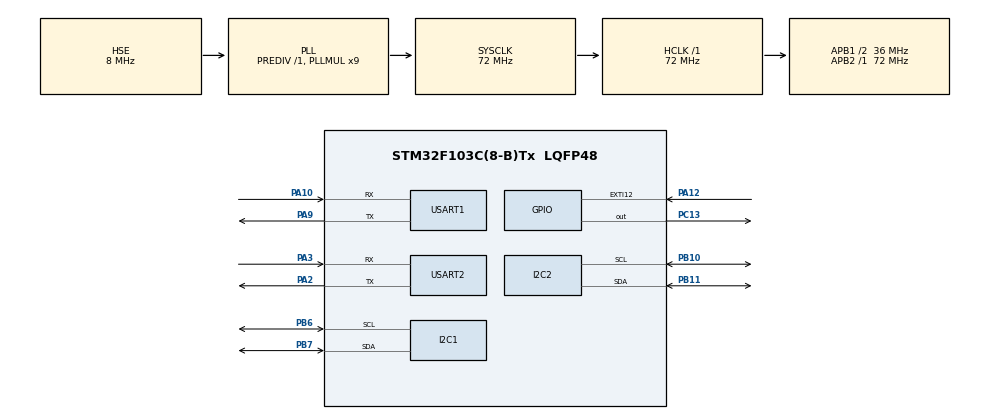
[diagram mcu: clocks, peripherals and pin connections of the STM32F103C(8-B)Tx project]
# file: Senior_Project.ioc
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Dma.Request0=USART1_RX
Dma.Request1=USART1_TX
Dma.Request2=USART2_RX
Dma.Request3=USART2_TX
Dma.USART1_RX.0.Direction=DMA_PERIPH_TO_MEMORY
Dma.USART1_RX.0.Instance=DMA1_Channel5
Dma.USART1_RX.0.MemDataAlignment=DMA_MDATAALIGN_BYTE
Dma.USART1_RX.0.MemInc=DMA_MINC_ENABLE
Dma.USART1_RX.0.Mode=DMA_NORMAL
Dma.USART1_RX.0.PeriphDataAlignment=DMA_PDATAALIGN_BYTE
Dma.USART1_RX.0.PeriphInc=DMA_PINC_DISABLE
Dma.USART1_RX.0.Priority=DMA_PRIORITY_LOW
Dma.USART1_TX.1.Direction=DMA_MEMORY_TO_PERIPH
Dma.USART1_TX.1.Instance=DMA1_Channel4
Dma.USART1_TX.1.MemDataAlignment=DMA_MDATAALIGN_BYTE
Dma.USART1_TX.1.MemInc=DMA_MINC_ENABLE
Dma.USART1_TX.1.Mode=DMA_NORMAL
Dma.USART1_TX.1.PeriphDataAlignment=DMA_PDATAALIGN_BYTE
Dma.USART1_TX.1.PeriphInc=DMA_PINC_DISABLE
Dma.USART1_TX.1.Priority=DMA_PRIORITY_LOW
Dma.USART2_RX.2.Direction=DMA_PERIPH_TO_MEMORY
Dma.USART2_RX.2.Instance=DMA1_Channel6
Dma.USART2_RX.2.MemDataAlignment=DMA_MDATAALIGN_BYTE
Dma.USART2_RX.2.MemInc=DMA_MINC_ENABLE
Dma.USART2_RX.2.Mode=DMA_NORMAL
Dma.USART2_RX.2.PeriphDataAlignment=DMA_PDATAALIGN_BYTE
Dma.USART2_RX.2.PeriphInc=DMA_PINC_DISABLE
Dma.USART2_RX.2.Priority=DMA_PRIORITY_LOW
Dma.USART2_TX.3.Direction=DMA_MEMORY_TO_PERIPH
Dma.USART2_TX.3.Instance=DMA1_Channel7
Dma.USART2_TX.3.MemDataAlignment=DMA_MDATAALIGN_BYTE
Dma.USART2_TX.3.MemInc=DMA_MINC_ENABLE
Dma.USART2_TX.3.Mode=DMA_NORMAL
Dma.USART2_TX.3.PeriphDataAlignment=DMA_PDATAALIGN_BYTE
Dma.USART2_TX.3.PeriphInc=DMA_PINC_DISABLE
Dma.USART2_TX.3.Priority=DMA_PRIORITY_LOW
Mcu.Family=STM32F1
Mcu.Name=STM32F103C(8-B)Tx
Mcu.Package=LQFP48
NVIC.DMA1_Channel4_IRQn=true\:0\:0\:false\:false\:true\:false\:true\:true
NVIC.DMA1_Channel5_IRQn=true\:0\:0\:false\:false\:true\:false\:true\:true
NVIC.DMA1_Channel6_IRQn=true\:0\:0\:false\:false\:true\:false\:true\:true
NVIC.DMA1_Channel7_IRQn=true\:0\:0\:false\:false\:true\:false\:true\:true
NVIC.PriorityGroup=NVIC_PRIORITYGROUP_4
NVIC.USART1_IRQn=true\:0\:0\:false\:false\:true\:true\:true\:true
NVIC.USART2_IRQn=true\:0\:0\:false\:false\:true\:true\:true\:true
PA10.Mode=Asynchronous
PA10.Signal=USART1_RX
PA12.GPIO_ModeDefaultEXTI=GPIO_MODE_IT_FALLING
PA12.GPIO_PuPd=GPIO_PULLUP
PA12.Signal=GPXTI12
PA2.Mode=Asynchronous
PA2.Signal=USART2_TX
PA3.Mode=Asynchronous
PA3.Signal=USART2_RX
PA9.Mode=Asynchronous
PA9.Signal=USART1_TX
PB10.Mode=I2C
PB10.Signal=I2C2_SCL
PB11.Mode=I2C
PB11.Signal=I2C2_SDA
PB6.Mode=I2C
PB6.Signal=I2C1_SCL
PB7.Mode=I2C
PB7.Signal=I2C1_SDA
PC13-TAMPER-RTC.Signal=GPIO_Output
PC14-OSC32_IN.Mode=LSE-External-Oscillator
PC14-OSC32_IN.Signal=RCC_OSC32_IN
PC15-OSC32_OUT.Mode=LSE-External-Oscillator
PC15-OSC32_OUT.Signal=RCC_OSC32_OUT
PD0-OSC_IN.Mode=HSE-External-Oscillator
PD0-OSC_IN.Signal=RCC_OSC_IN
PD1-OSC_OUT.Mode=HSE-External-Oscillator
PD1-OSC_OUT.Signal=RCC_OSC_OUT
ProjectManager.HeapSize=0x200
ProjectManager.StackSize=0x400
ProjectManager.TargetToolchain=STM32CubeIDE
RCC.AHBFreq_Value=72000000
RCC.APB1CLKDivider=RCC_HCLK_DIV2
RCC.APB1Freq_Value=36000000
RCC.APB1TimFreq_Value=72000000
RCC.APB2Freq_Value=72000000
RCC.APB2TimFreq_Value=72000000
RCC.HCLKFreq_Value=72000000
RCC.PLLMUL=RCC_PLL_MUL9
RCC.PLLSourceVirtual=RCC_PLLSOURCE_HSE
RCC.SYSCLKFreq_VALUE=72000000
RCC.SYSCLKSource=RCC_SYSCLKSOURCE_PLLCLK
RCC.USBFreq_Value=72000000
USART1.VirtualMode=VM_ASYNC
USART2.VirtualMode=VM_ASYNC
board=custom

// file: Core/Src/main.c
/* USER CODE BEGIN Header */
/**
  ******************************************************************************
  * @file           : main.c
  * @brief          : Main program body
  ******************************************************************************
  * @attention
  *
  * Copyright (c) 2023 STMicroelectronics.
  * All rights reserved.
  *
  * This software is licensed under terms that can be found in the LICENSE file
  * in the root directory of this software component.
  * If no LICENSE file comes with this software, it is provided AS-IS.
  *
  ******************************************************************************
  */
/* USER CODE END Header */
#include "main.h"

/* USER CODE BEGIN Includes */
#include <stdio.h>
#include "max30102_for_stm32_hal.h"
#include "dev_trace.h"
#include "hrspo2_converter.h"
#include "com_preasure.h"

/* USER CODE END Includes */

/* USER CODE BEGIN PD */
#define UART_MESSAGE_START 		0
#define UART_MESSAGE_ID    		1
#define UART_MESSAGE_TEMP  		2
#define UART_MESSAGE_PRESS 		3
#define UART_MESSAGE_RATE  		4
#define UART_MESSAGE_SAT   		5
#define UART_MESSAGE_END   		6

#define START_MESSAGE      0xAA
#define END_MESSAGE        0x55

#define TEMP_I2C_ADDRESS        0x90
#define TEMP_READ_ADDRESS  		0
#define TEMP_CONF_ADDRESS  		1
#define TEMP_HYST_ADDRESS  		2
#define TEMP_OS_ADDRESS    		3
#define TEMP_TIMEOUT       		10

/* USER CODE END PD */

I2C_HandleTypeDef hi2c1;
I2C_HandleTypeDef hi2c2;

UART_HandleTypeDef huart1;
UART_HandleTypeDef huart2;
DMA_HandleTypeDef hdma_usart1_rx;
DMA_HandleTypeDef hdma_usart1_tx;
DMA_HandleTypeDef hdma_usart2_rx;
DMA_HandleTypeDef hdma_usart2_tx;

/* USER CODE BEGIN PV */
uint8_t tx_buffer[128];
uint8_t samples_buf[16];
//uint8_t data[128];
uint32_t temporary_int;

/* USER CODE END PV */

void SystemClock_Config(void);
static void MX_GPIO_Init(void);
static void MX_DMA_Init(void);
static void MX_USART1_UART_Init(void);
static void MX_I2C1_Init(void);
static void MX_I2C2_Init(void);
static void MX_USART2_UART_Init(void);
/* USER CODE BEGIN PFP */
float get_temp(void);
/* USER CODE END PFP */

int main(void)
{

  /* MCU Configuration--------------------------------------------------------*/

  /* Reset of all peripherals, Initializes the Flash interface and the Systick. */
  HAL_Init();

  /* Configure the system clock */
  SystemClock_Config();

  /* Initialize all configured peripherals */
  MX_GPIO_Init();
  MX_DMA_Init();
  MX_USART1_UART_Init();
  MX_I2C1_Init();
  MX_I2C2_Init();
  MX_USART2_UART_Init();
  /* USER CODE BEGIN 2 */

  dev_trace_init_t trace_init;
  trace_init.mosi.port = GPIO_PA;
  trace_init.sck. port = GPIO_PA;
  trace_init.nss.port = GPIO_PA;
  trace_init.mosi.pin =BB(0, b00010000);
  trace_init.sck.pin = BB(0, b00100000);
  trace_init.nss.pin = BB(0, b01000000);
  dev_trace_init(&trace_init);

  debug_printf("\r\n\n\n\n******HUMAN HEALTH MONITORING SENSOR******\r\n");

  uint32_t serial_id = 1717;
//  uint32_t temperature = 3755;
  uint32_t heart_rate;
  float saturation = 0;
  uint8_t finger_on = 1;
  int SYS = 0;
  int DIA = 0;
  int PUL = 0;
  uint32_t last_time = HAL_GetTick();

  init_bpm(&huart2, GPIOA, GPIO_PIN_1);

  Max30102Setup();
  uint8_t faile_counter = 0;

  bpm_thread(&DIA,&SYS,&PUL);
  debug_printf("\r\n\n\n\n PUL: %d  SYS: %d  DIA: %d\r\n\n\n\n", PUL, SYS, DIA);
  /* USER CODE END 2 */

  /* Infinite loop */
  while (1)
  {

    /* USER CODE BEGIN 3 */

//	  Max30102Loop();
	  if(HAL_GPIO_ReadPin(GPIOB, GPIO_PIN_12) == GPIO_PIN_RESET){
		  Max30102Loop(&saturation, &heart_rate, &finger_on);
		  if(finger_on == 0)faile_counter++;
		  if(faile_counter > 20){
			  HAL_I2C_DeInit(&hi2c1);
			  HAL_Delay(10);
			  HAL_I2C_Init(&hi2c1);
			  faile_counter = 0;
			  debug_printf("me movel\r\n");
		  }
	  }

	  if (HAL_GetTick() - last_time > 1000){
		  HAL_GPIO_TogglePin (GPIOC, GPIO_PIN_13);
		  get_temp();
		  if (finger_on == 1){
			  debug_printf("........................................new SPO2: %f , Heart Rate: %d\r\n",saturation, heart_rate);
		  }else{
			  debug_printf("........................................Not valid. Are you still alive?\r\n");
		  }
		  tx_buffer[0] = START_MESSAGE;
		  memcpy(&tx_buffer[1], &serial_id, 4);
		  // tx_buffer[5], temp;
		  memcpy(&tx_buffer[9], &heart_rate, 4);
		  saturation *= 1000;
		  temporary_int = (int)saturation;
		  memcpy(&tx_buffer[13], &temporary_int, 4);
		  tx_buffer[17] = finger_on;
		  tx_buffer[18] = END_MESSAGE;
		  HAL_UART_Transmit_DMA(&huart1, tx_buffer, 32);
		  last_time = HAL_GetTick();
	  }

  }
  /* USER CODE END 3 */
}

void SystemClock_Config(void)
{
  RCC_OscInitTypeDef RCC_OscInitStruct = {0};
  RCC_ClkInitTypeDef RCC_ClkInitStruct = {0};

  /** Initializes the RCC Oscillators according to the specified parameters
  * in the RCC_OscInitTypeDef structure.
  */
  RCC_OscInitStruct.OscillatorType = RCC_OSCILLATORTYPE_HSE;
  RCC_OscInitStruct.HSEState = RCC_HSE_ON;
  RCC_OscInitStruct.HSEPredivValue = RCC_HSE_PREDIV_DIV1;
  RCC_OscInitStruct.HSIState = RCC_HSI_ON;
  RCC_OscInitStruct.PLL.PLLState = RCC_PLL_ON;
  RCC_OscInitStruct.PLL.PLLSource = RCC_PLLSOURCE_HSE;
  RCC_OscInitStruct.PLL.PLLMUL = RCC_PLL_MUL9;
  if (HAL_RCC_OscConfig(&RCC_OscInitStruct) != HAL_OK)
  {
    Error_Handler();
  }

  /** Initializes the CPU, AHB and APB buses clocks
  */
  RCC_ClkInitStruct.ClockType = RCC_CLOCKTYPE_HCLK|RCC_CLOCKTYPE_SYSCLK
                              |RCC_CLOCKTYPE_PCLK1|RCC_CLOCKTYPE_PCLK2;
  RCC_ClkInitStruct.SYSCLKSource = RCC_SYSCLKSOURCE_PLLCLK;
  RCC_ClkInitStruct.AHBCLKDivider = RCC_SYSCLK_DIV1;
  RCC_ClkInitStruct.APB1CLKDivider = RCC_HCLK_DIV2;
  RCC_ClkInitStruct.APB2CLKDivider = RCC_HCLK_DIV1;

  if (HAL_RCC_ClockConfig(&RCC_ClkInitStruct, FLASH_LATENCY_2) != HAL_OK)
  {
    Error_Handler();
  }
}

static void MX_I2C1_Init(void)
{

  hi2c1.Instance = I2C1;
  hi2c1.Init.ClockSpeed = 100000;
  hi2c1.Init.DutyCycle = I2C_DUTYCYCLE_2;
  hi2c1.Init.OwnAddress1 = 0;
  hi2c1.Init.AddressingMode = I2C_ADDRESSINGMODE_7BIT;
  hi2c1.Init.DualAddressMode = I2C_DUALADDRESS_DISABLE;
  hi2c1.Init.OwnAddress2 = 0;
  hi2c1.Init.GeneralCallMode = I2C_GENERALCALL_DISABLE;
  hi2c1.Init.NoStretchMode = I2C_NOSTRETCH_DISABLE;
  if (HAL_I2C_Init(&hi2c1) != HAL_OK)
  {
    Error_Handler();
  }

}

static void MX_I2C2_Init(void)
{

  hi2c2.Instance = I2C2;
  hi2c2.Init.ClockSpeed = 100000;
  hi2c2.Init.DutyCycle = I2C_DUTYCYCLE_2;
  hi2c2.Init.OwnAddress1 = 0;
  hi2c2.Init.AddressingMode = I2C_ADDRESSINGMODE_7BIT;
  hi2c2.Init.DualAddressMode = I2C_DUALADDRESS_DISABLE;
  hi2c2.Init.OwnAddress2 = 0;
  hi2c2.Init.GeneralCallMode = I2C_GENERALCALL_DISABLE;
  hi2c2.Init.NoStretchMode = I2C_NOSTRETCH_DISABLE;
  if (HAL_I2C_Init(&hi2c2) != HAL_OK)
  {
    Error_Handler();
  }

}

static void MX_USART1_UART_Init(void)
{

  huart1.Instance = USART1;
  huart1.Init.BaudRate = 115200;
  huart1.Init.WordLength = UART_WORDLENGTH_8B;
  huart1.Init.StopBits = UART_STOPBITS_1;
  huart1.Init.Parity = UART_PARITY_NONE;
  huart1.Init.Mode = UART_MODE_TX_RX;
  huart1.Init.HwFlowCtl = UART_HWCONTROL_NONE;
  huart1.Init.OverSampling = UART_OVERSAMPLING_16;
  if (HAL_UART_Init(&huart1) != HAL_OK)
  {
    Error_Handler();
  }

}

static void MX_USART2_UART_Init(void)
{

  huart2.Instance = USART2;
  huart2.Init.BaudRate = 115200;
  huart2.Init.WordLength = UART_WORDLENGTH_8B;
  huart2.Init.StopBits = UART_STOPBITS_1;
  huart2.Init.Parity = UART_PARITY_NONE;
  huart2.Init.Mode = UART_MODE_TX_RX;
  huart2.Init.HwFlowCtl = UART_HWCONTROL_NONE;
  huart2.Init.OverSampling = UART_OVERSAMPLING_16;
  if (HAL_UART_Init(&huart2) != HAL_OK)
  {
    Error_Handler();
  }

}

static void MX_DMA_Init(void)
{

  /* DMA controller clock enable */
  __HAL_RCC_DMA1_CLK_ENABLE();

  /* DMA interrupt init */
  /* DMA1_Channel4_IRQn interrupt configuration */
  HAL_NVIC_SetPriority(DMA1_Channel4_IRQn, 0, 0);
  HAL_NVIC_EnableIRQ(DMA1_Channel4_IRQn);
  /* DMA1_Channel5_IRQn interrupt configuration */
  HAL_NVIC_SetPriority(DMA1_Channel5_IRQn, 0, 0);
  HAL_NVIC_EnableIRQ(DMA1_Channel5_IRQn);
  /* DMA1_Channel6_IRQn interrupt configuration */
  HAL_NVIC_SetPriority(DMA1_Channel6_IRQn, 0, 0);
  HAL_NVIC_EnableIRQ(DMA1_Channel6_IRQn);
  /* DMA1_Channel7_IRQn interrupt configuration */
  HAL_NVIC_SetPriority(DMA1_Channel7_IRQn, 0, 0);
  HAL_NVIC_EnableIRQ(DMA1_Channel7_IRQn);

}

static void MX_GPIO_Init(void)
{
  GPIO_InitTypeDef GPIO_InitStruct = {0};

  /* GPIO Ports Clock Enable */
  __HAL_RCC_GPIOC_CLK_ENABLE();
  __HAL_RCC_GPIOD_CLK_ENABLE();
  __HAL_RCC_GPIOA_CLK_ENABLE();
  __HAL_RCC_GPIOB_CLK_ENABLE();

  /*Configure GPIO pin Output Level */
  HAL_GPIO_WritePin(GPIOC, GPIO_PIN_13, GPIO_PIN_RESET);

  /*Configure GPIO pin : PC13 */
  GPIO_InitStruct.Pin = GPIO_PIN_13;
  GPIO_InitStruct.Mode = GPIO_MODE_OUTPUT_PP;
  GPIO_InitStruct.Pull = GPIO_NOPULL;
  GPIO_InitStruct.Speed = GPIO_SPEED_FREQ_LOW;
  HAL_GPIO_Init(GPIOC, &GPIO_InitStruct);

  /*Configure GPIO pin : PA12 */
  GPIO_InitStruct.Pin = GPIO_PIN_12;
  GPIO_InitStruct.Mode = GPIO_MODE_IT_FALLING;
  GPIO_InitStruct.Pull = GPIO_PULLUP;
  HAL_GPIO_Init(GPIOA, &GPIO_InitStruct);

}

/* USER CODE BEGIN 4 */
float get_temp(void){
	uint8_t temp_buff[2] = {0};
	HAL_I2C_Master_Transmit(&hi2c2, TEMP_I2C_ADDRESS, TEMP_READ_ADDRESS, 1, TEMP_TIMEOUT);
	HAL_I2C_Master_Receive(&hi2c2, TEMP_I2C_ADDRESS, temp_buff, sizeof(temp_buff), TEMP_TIMEOUT);

	float ans = 0;
	for(int q = -8; q < 0; q++){
	  if(temp_buff[1] & (1 << q + 8)){
		  ans += pow(2,q);
	  }
    }
	ans += temp_buff[0];
	ans *= 1000;
	temporary_int = (int)ans;
	memcpy(&tx_buffer[5], &temporary_int, 4);
	debug_printf("temp %f\n\r" , ans);

}
/* USER CODE END 4 */

void Error_Handler(void)
{
  __disable_irq();
  while (1)
  {
  }
}
